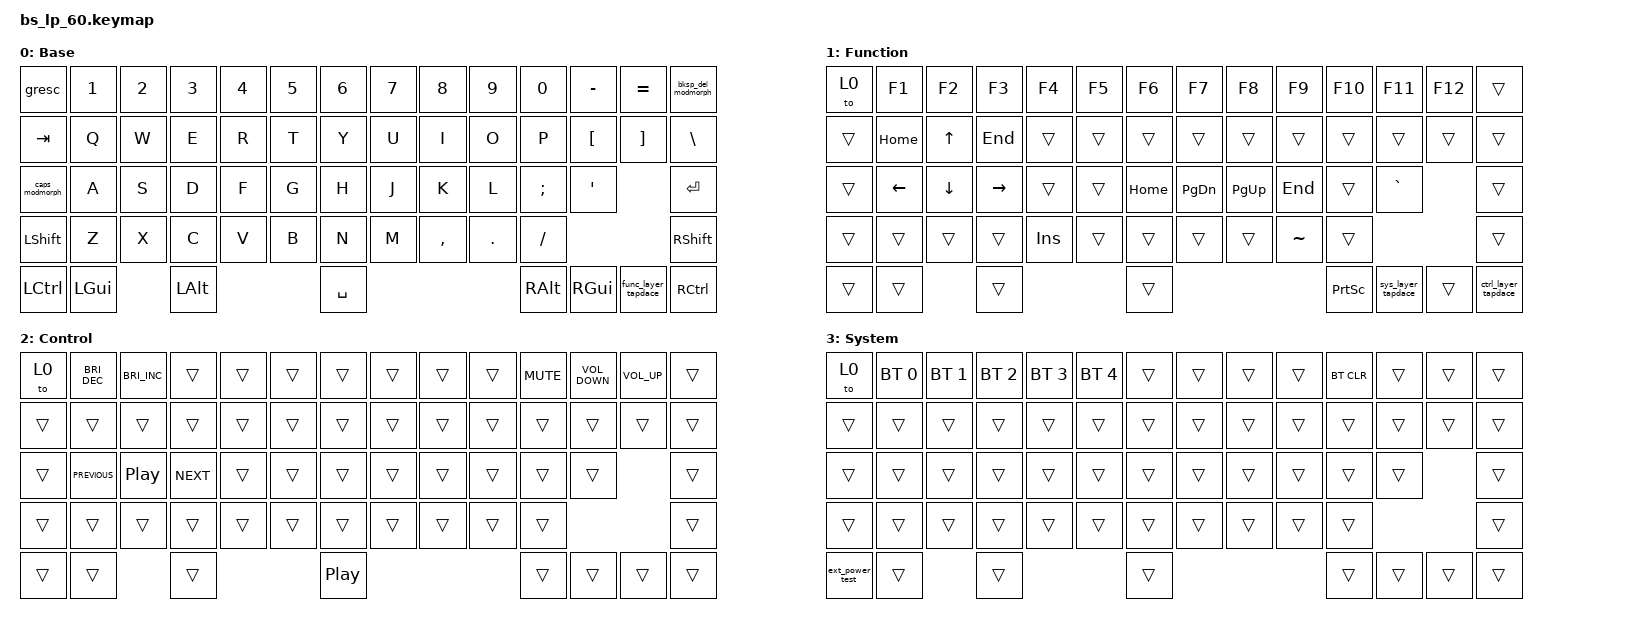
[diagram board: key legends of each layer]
/*
 * Copyright (c) 2021 Cole Smith
 *
 * SPDX-License-Identifier: MIT
 */

#include <dt-bindings/zmk/reset.h>
#include <behaviors.dtsi>
#include <dt-bindings/zmk/bt.h>
#include <dt-bindings/zmk/ext_power.h>
#include <dt-bindings/zmk/keys.h>

#define BAS_L 0
#define NAV_L 1

/ {
    combos {
        compatible = "zmk,combos";

        bootloader_combo {
            bindings = <&bootloader>;
            key-positions = <13 28 60 54>;
            timeout-ms = <150>;
        };

        sys_reset_combo {
            bindings = <&sys_reset>;
            key-positions = <28 60 54>;
            timeout-ms = <150>;
        };
    };

    macros {
        // TEMPORARY TEST: cut ext-power (P0.31) for 5 seconds, then turn it back on,
        // to see what it controls. Ends with EP_ON so the saved state is never left off.
        ext_power_test: ext_power_test {
            compatible = "zmk,behavior-macro";
            #binding-cells = <0>;
            wait-ms = <0>;
            tap-ms = <10>;
            bindings = <&macro_wait_time 5000>, <&ext_power EP_OFF>, <&macro_wait_time 0>, <&ext_power EP_ON>;
        };
    };

    behaviors {
        func_layer_tapdace: func_layer_tapdace {
            compatible = "zmk,behavior-tap-dance";
            label = "FUNC_LAYER_TAPDACE";
            #binding-cells = <0>;
            bindings = <&mo 1>, <&tog 1>;
        };

        ctrl_layer_tapdace: ctrl_layer_tapdace {
            compatible = "zmk,behavior-tap-dance";
            label = "CTRL_LAYER_TAPDACE";
            #binding-cells = <0>;
            bindings = <&mo 2>, <&tog 2>;
        };

        sys_layer_tapdace: sys_layer_tapdace {
            compatible = "zmk,behavior-tap-dance";
            label = "SYS_LAYER_TAPDACE";
            #binding-cells = <0>;
            bindings = <&mo 3>, <&tog 3>;
        };

        bksp_del_modmorph: bksp_del_modmorph {
            compatible = "zmk,behavior-mod-morph";
            label = "BKSP_DEL_MODMORPH";
            bindings = <&kp BACKSPACE>, <&kp DELETE>;

            #binding-cells = <0>;
            mods = <(MOD_RSFT)>;
        };

        caps_modmorph: caps_modmorph {
            compatible = "zmk,behavior-mod-morph";
            label = "CAPS_MODMORPH";
            bindings = <&func_layer_tapdace>, <&kp CAPSLOCK>;

            #binding-cells = <0>;
            mods = <(MOD_RSFT)>;
        };
    };

    keymap {
        compatible = "zmk,keymap";

        default_layer {
            // ------------------------------------------------------------------------------------------
            // | ESC |  1  |  2  |  3  |  4  |  5  |  6  |  7  |  8  |  9  |  0  |  -  |  =  |   BKSP   |
            // | TAB  |  Q  |  W  |  E  |  R  |  T  |  Y  |  U  |  I  |  O  |  P  |  [  |  ]  |   "|"   |
            // | CAPS  |  A  |  S  |  D  |  F  |  G  |  H  |  J  |  K  |  L  |  ;  |  '  |     ENTER    |
            // |  SHIFT  |  Z  |  X  |  C  |  V  |  B  |  N  |  M  |  ,  |  .  |  /  |      SHIFT       |
            // |  CTL  |  WIN  |  ALT  |            SPACE              |  ALT  |  WIN  |  MO(1) |  CTL  |
            // ------------------------------------------------------------------------------------------

            label = "Base";
            bindings = <
&gresc          &kp N1    &kp N2  &kp N3    &kp N4  &kp N5  &kp N6     &kp N7  &kp N8     &kp N9   &kp N0    &kp MINUS  &kp EQUAL            &bksp_del_modmorph
&kp TAB         &kp Q     &kp W   &kp E     &kp R   &kp T   &kp Y      &kp U   &kp I      &kp O    &kp P     &kp LBKT   &kp RBKT             &kp BSLH
&caps_modmorph  &kp A     &kp S   &kp D     &kp F   &kp G   &kp H      &kp J   &kp K      &kp L    &kp SEMI  &kp SQT                         &kp RET
&kp LSHFT       &kp Z     &kp X   &kp C     &kp V   &kp B   &kp N      &kp M   &kp COMMA  &kp DOT  &kp FSLH                                  &kp RSHFT
&kp LCTRL       &kp LGUI          &kp LALT                  &kp SPACE                              &kp RALT  &kp RGUI   &func_layer_tapdace  &kp RCTRL
            >;
        };

        function_layer {
            // ------------------------------------------------------------------------------------------------
            // | BT CLR | F1  | F2  | F3  | F4  | F5  | F6  | F7  | F8  | F9  | F10  | F11 | F12 |            |
            // |  BT 1   |   |  UP |   |       |       |       |       |   |     |    |     |     |           |
            // |   BT 2   | LT |  DN  | RT |       |       |       |       |   |     |   |     |              |
            // |    BT 3     |     |      |      |     |     |     |     |     |     |     |                  |
            // |   BT 4  |      |      |                                    | PRT SCR |       |       |  DEL  |
            // ------------------------------------------------------------------------------------------------

            label = "Function";
            bindings = <
&to 0   &kp F1    &kp F2    &kp F3     &kp F4      &kp F5  &kp F6    &kp F7         &kp F8       &kp F9     &kp F10    &kp F11             &kp F12  &trans
&trans  &kp HOME  &kp UP    &kp END    &trans      &trans  &trans    &trans         &trans       &trans     &trans     &trans              &trans   &trans
&trans  &kp LEFT  &kp DOWN  &kp RIGHT  &trans      &trans  &kp HOME  &kp PAGE_DOWN  &kp PAGE_UP  &kp END    &trans     &kp GRAVE                    &trans
&trans  &trans    &trans    &trans     &kp INSERT  &trans  &trans    &trans         &trans       &kp TILDE  &trans                                  &trans
&trans  &trans              &trans                         &trans                                           &kp PSCRN  &sys_layer_tapdace  &trans   &ctrl_layer_tapdace
            >;
        };

        control_layer {
            bindings = <
&to 0   &kp C_BRIGHTNESS_DEC  &kp C_BRIGHTNESS_INC  &trans      &trans  &trans  &trans    &trans  &trans  &trans  &kp C_MUTE  &kp C_VOLUME_DOWN  &kp C_VOLUME_UP  &trans
&trans  &trans                &trans                &trans      &trans  &trans  &trans    &trans  &trans  &trans  &trans      &trans             &trans           &trans
&trans  &kp C_PREVIOUS        &kp C_PP              &kp C_NEXT  &trans  &trans  &trans    &trans  &trans  &trans  &trans      &trans                              &trans
&trans  &trans                &trans                &trans      &trans  &trans  &trans    &trans  &trans  &trans  &trans                                          &trans
&trans  &trans                                      &trans                      &kp C_PP                          &trans      &trans             &trans           &trans
            >;

            label = "Control";
        };

        system_layer {
            bindings = <
&to 0   &bt BT_SEL 0  &bt BT_SEL 1  &bt BT_SEL 2  &bt BT_SEL 3  &bt BT_SEL 4  &trans  &trans  &trans  &trans  &bt BT_CLR  &trans  &trans  &trans
&trans  &trans        &trans        &trans        &trans        &trans        &trans  &trans  &trans  &trans  &trans      &trans  &trans  &trans
&trans  &trans        &trans        &trans        &trans        &trans        &trans  &trans  &trans  &trans  &trans      &trans          &trans
&trans  &trans        &trans        &trans        &trans        &trans        &trans  &trans  &trans  &trans  &trans                      &trans
&ext_power_test  &trans                      &trans                                    &trans                          &trans      &trans  &trans  &trans
            >;

            label = "System";
        };
    };
};
